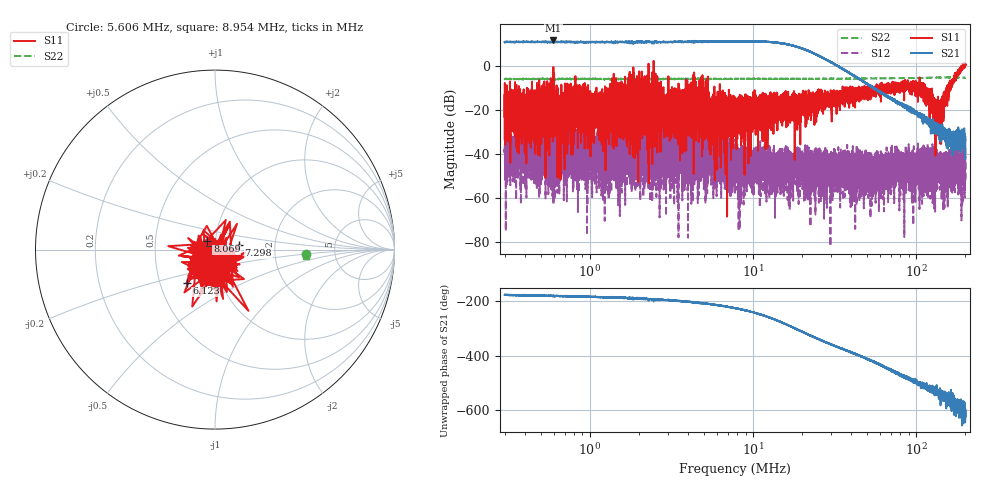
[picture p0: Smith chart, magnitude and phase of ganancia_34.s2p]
# Hz S DB R 50
! CMT, M5065, 19127446, 24.2.4/2
! Date: 11/1/2024 4:34:55 PM
! Data: Format (Calibration Info)
! Freq	S11:dB/Ang(F2)	S21:dB/Ang(F2)	S12:dB/Ang(F2)	S22:dB/Ang(F2)
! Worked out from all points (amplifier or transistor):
!   9000 points, 300 kHz to 200 MHz, reference 50 ohm
!   highest |S21| = 11.7 dB at 596.8 kHz (marker M1)
!   |S21| within 3 dB of that: start of sweep to 18.61 MHz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
!   unconditionally stable (mu >= 1): start of sweep to 1.726 MHz; 2.458 MHz to 188.5 MHz; 188.7 MHz to 191.3 MHz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
!   at 886.8 kHz: K = 19.26, MAG = 12.3 dB, |S12| = -45.4 dB
!   at 7.749 MHz: K = 74.59, MAG = 12.8 dB, |S12| = -57.8 dB
!   at 200 MHz: K = -483.28, MSG = 0.4 dB, |S12| = -41.0 dB
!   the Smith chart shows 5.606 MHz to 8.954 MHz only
!   S11 on the Smith chart (normalised r, x): 5.606 MHz: 0.93, -0.17; 6.123 MHz: 0.68, -0.27; 7.298 MHz: 1.30, +0.06; 8.069 MHz: 0.92, +0.09; 8.954 MHz: 1.07, -0.19
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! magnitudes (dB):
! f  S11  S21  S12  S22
! 300 kHz  -33.4  11.0  -39.5  -5.9
! 310.1 kHz  -15.6  11.1  -36.5  -5.9
! 330 kHz  -10.7  10.8  -43.5  -5.8
! 406.4 kHz  -20.0  11.0  -45.4  -5.8
! 596.8 kHz  -0.5  11.7  -44.6  -5.8
! 886.8 kHz  -20.4  10.9  -45.4  -5.9
! 2.621 MHz  -25.2  11.0  -40.5  -5.9
! 2.861 MHz  -32.7  10.9  -49.2  -5.9
! 4.73 MHz  -20.0  11.0  -26.8  -6.0
! 5.606 MHz  -20.4  11.2  -41.4  -5.8
! 6.123 MHz  -12.2  11.4  -50.2  -5.9
! 7.298 MHz  -17.4  11.2  -54.4  -5.9
! 7.749 MHz  -14.2  11.3  -57.8  -5.8
! 8.069 MHz  -24.0  11.2  -43.8  -5.9
! 8.954 MHz  -20.0  11.3  -48.4  -5.8
! 22.91 MHz  -20.2  6.1  -42.0  -5.8
! 67.71 MHz  -9.3  -14.5  -45.9  -5.6
! 106.7 MHz  -7.9  -23.3  -39.3  -5.4
! 138.7 MHz  -17.1  -29.9  -40.9  -5.2
! 160 MHz  -9.2  -32.2  -41.3  -5.2
! 186.5 MHz  -2.0  -33.0  -44.4  -5.3
! 200 MHz  0.5  -40.3  -41.0  -5.3
